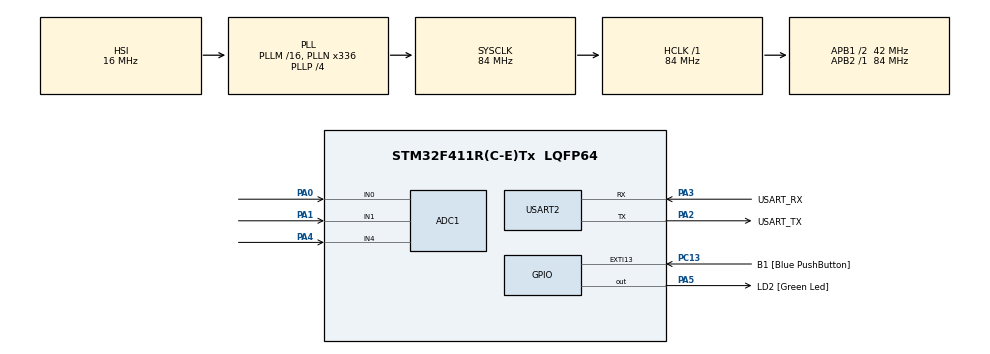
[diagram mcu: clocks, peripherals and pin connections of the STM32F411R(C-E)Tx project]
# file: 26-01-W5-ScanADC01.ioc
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ADC1.Channel-0\#ChannelRegularConversion=ADC_CHANNEL_0
ADC1.Channel-1\#ChannelRegularConversion=ADC_CHANNEL_1
ADC1.Channel-2\#ChannelRegularConversion=ADC_CHANNEL_4
ADC1.ExternalTrigConv=ADC_EXTERNALTRIGCONV_T3_TRGO
ADC1.NbrOfConversion=3
ADC1.NbrOfConversionFlag=1
ADC1.Rank-0\#ChannelRegularConversion=1
ADC1.Rank-1\#ChannelRegularConversion=2
ADC1.Rank-2\#ChannelRegularConversion=3
ADC1.SamplingTime-0\#ChannelRegularConversion=ADC_SAMPLETIME_112CYCLES
ADC1.SamplingTime-1\#ChannelRegularConversion=ADC_SAMPLETIME_112CYCLES
ADC1.SamplingTime-2\#ChannelRegularConversion=ADC_SAMPLETIME_112CYCLES
ADC1.ScanConvMode=ENABLE
ADC1.master=1
Mcu.Family=STM32F4
Mcu.Name=STM32F411R(C-E)Tx
Mcu.Package=LQFP64
NVIC.ADC_IRQn=true\:0\:0\:false\:false\:true\:true\:true\:true
NVIC.PriorityGroup=NVIC_PRIORITYGROUP_0
PA0-WKUP.Signal=ADCx_IN0
PA1.Signal=ADCx_IN1
PA13.GPIO_Label=TMS
PA13.Mode=Serial_Wire
PA13.Signal=SYS_JTMS-SWDIO
PA14.GPIO_Label=TCK
PA14.Mode=Serial_Wire
PA14.Signal=SYS_JTCK-SWCLK
PA2.GPIO_Label=USART_TX
PA2.Mode=Asynchronous
PA2.Signal=USART2_TX
PA3.GPIO_Label=USART_RX
PA3.Mode=Asynchronous
PA3.Signal=USART2_RX
PA4.Signal=ADCx_IN4
PA5.GPIO_Label=LD2 [Green Led]
PA5.Signal=GPIO_Output
PB3.GPIO_Label=SWO
PB3.Signal=SYS_JTDO-SWO
PC13-ANTI_TAMP.GPIO_Label=B1 [Blue PushButton]
PC13-ANTI_TAMP.GPIO_ModeDefaultEXTI=GPIO_MODE_IT_FALLING
PC13-ANTI_TAMP.Signal=GPXTI13
PC14-OSC32_IN.Mode=LSE-External-Oscillator
PC14-OSC32_IN.Signal=RCC_OSC32_IN
PC15-OSC32_OUT.Mode=LSE-External-Oscillator
PC15-OSC32_OUT.Signal=RCC_OSC32_OUT
PH0\ -\ OSC_IN.Mode=HSE-External-Clock-Source
PH0\ -\ OSC_IN.Signal=RCC_OSC_IN
PH1\ -\ OSC_OUT.Mode=HSE-External-Clock-Source
PH1\ -\ OSC_OUT.Signal=RCC_OSC_OUT
ProjectManager.HeapSize=0x200
ProjectManager.StackSize=0x400
ProjectManager.TargetToolchain=STM32CubeIDE
RCC.48MHZClocksFreq_Value=84000000
RCC.AHBFreq_Value=84000000
RCC.APB1CLKDivider=RCC_HCLK_DIV2
RCC.APB1Freq_Value=42000000
RCC.APB1TimFreq_Value=84000000
RCC.APB2Freq_Value=84000000
RCC.APB2TimFreq_Value=84000000
RCC.CortexFreq_Value=84000000
RCC.FLatency-AdvancedSettings=FLASH_LATENCY_2
RCC.HCLKFreq_Value=84000000
RCC.HSE_VALUE=8000000
RCC.HSI_VALUE=16000000
RCC.PLLN=336
RCC.PLLP=RCC_PLLP_DIV4
RCC.SYSCLKFreq_VALUE=84000000
RCC.SYSCLKSource=RCC_SYSCLKSOURCE_PLLCLK
RCC.VCOOutputFreq_Value=336000000
SH.ADCx_IN0.0=ADC1_IN0,IN0
SH.ADCx_IN1.0=ADC1_IN1,IN1
SH.ADCx_IN4.0=ADC1_IN4,IN4
TIM3.Period=99
TIM3.Prescaler=8400 - 1
TIM3.TIM_MasterOutputTrigger=TIM_TRGO_UPDATE
USART2.VirtualMode=VM_ASYNC
VP_TIM3_VS_ClockSourceINT.Mode=Internal
board=NUCLEO-F411RE

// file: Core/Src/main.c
/* USER CODE BEGIN Header */
/**
  ******************************************************************************
  * @file           : main.c
  * @brief          : Main program body
  ******************************************************************************
  * @attention
  *
  * Copyright (c) 2026 STMicroelectronics.
  * All rights reserved.
  *
  * This software is licensed under terms that can be found in the LICENSE file
  * in the root directory of this software component.
  * If no LICENSE file comes with this software, it is provided AS-IS.
  *
  ******************************************************************************
  */
/* USER CODE END Header */
#include "main.h"

/* USER CODE BEGIN Includes */
#include "Serial_printf.h"
/* USER CODE END Includes */

ADC_HandleTypeDef hadc1;

TIM_HandleTypeDef htim3;

UART_HandleTypeDef huart2;

/* USER CODE BEGIN PV */
#define ADC_BUF_SIZE   500
#define ADC_CH_NUM     3

volatile uint16_t adc_buf[ADC_CH_NUM][ADC_BUF_SIZE];
volatile uint32_t adc_buf_idx   = 0;   // 현재 버퍼 쓰기 위치 (0 ~ 499)
volatile uint8_t  adc_ch_idx    = 0;   // 스캔 중 채널 인덱스 (0, 1, 2)
volatile uint32_t adc_conv_count = 0;  // 완료된 스캔 횟수 (3채널 1세트 = 1)
/* USER CODE END PV */

void SystemClock_Config(void);
static void MX_GPIO_Init(void);
static void MX_USART2_UART_Init(void);
static void MX_ADC1_Init(void);
static void MX_TIM3_Init(void);

int main(void)
{

  /* MCU Configuration--------------------------------------------------------*/

  /* Reset of all peripherals, Initializes the Flash interface and the Systick. */
  HAL_Init();

  /* Configure the system clock */
  SystemClock_Config();

  /* Initialize all configured peripherals */
  MX_GPIO_Init();
  MX_USART2_UART_Init();
  MX_ADC1_Init();
  MX_TIM3_Init();
  /* USER CODE BEGIN 2 */
  printf("== ScanADC01 Start ==\n");
  printf("ADC 3ch Scan, TIM3 trigger 100Hz, Buffer %d\n", ADC_BUF_SIZE);

  HAL_TIM_Base_Start(&htim3);       // TIM3 시작 → TRGO로 ADC 트리거 발생
  HAL_ADC_Start_IT(&hadc1);         // ADC 인터럽트 모드 시작 (트리거 대기)
  /* USER CODE END 2 */

  /* Infinite loop */
  /* USER CODE BEGIN WHILE */
  uint32_t last_tick  = HAL_GetTick();
  uint32_t last_count = 0;

  while (1)
  {
	  uint32_t now = HAL_GetTick();
	  if (now - last_tick >= 1000)        // 1초마다 출력
	  {
		  uint32_t cur = adc_conv_count;
		  uint32_t new_cnt = cur - last_count;

		  printf("[%5lus] new=%3lu  total=%lu  idx=%lu\n",
				  now / 1000, new_cnt, cur, adc_buf_idx);

		  // 최근 값 확인용: 마지막으로 기록된 위치의 3채널 값 출력
		  uint32_t peek = (adc_buf_idx == 0) ? ADC_BUF_SIZE - 1 : adc_buf_idx - 1;
		  printf("        CH0=%4u  CH1=%4u  CH4=%4u\n",
				  adc_buf[0][peek], adc_buf[1][peek], adc_buf[2][peek]);

		  last_count = cur;
		  last_tick  = now;
	  }
    /* USER CODE END WHILE */

  }
}

void SystemClock_Config(void)
{
  RCC_OscInitTypeDef RCC_OscInitStruct = {0};
  RCC_ClkInitTypeDef RCC_ClkInitStruct = {0};

  /** Configure the main internal regulator output voltage
  */
  __HAL_RCC_PWR_CLK_ENABLE();
  __HAL_PWR_VOLTAGESCALING_CONFIG(PWR_REGULATOR_VOLTAGE_SCALE1);

  /** Initializes the RCC Oscillators according to the specified parameters
  * in the RCC_OscInitTypeDef structure.
  */
  RCC_OscInitStruct.OscillatorType = RCC_OSCILLATORTYPE_HSI;
  RCC_OscInitStruct.HSIState = RCC_HSI_ON;
  RCC_OscInitStruct.HSICalibrationValue = RCC_HSICALIBRATION_DEFAULT;
  RCC_OscInitStruct.PLL.PLLState = RCC_PLL_ON;
  RCC_OscInitStruct.PLL.PLLSource = RCC_PLLSOURCE_HSI;
  RCC_OscInitStruct.PLL.PLLM = 16;
  RCC_OscInitStruct.PLL.PLLN = 336;
  RCC_OscInitStruct.PLL.PLLP = RCC_PLLP_DIV4;
  RCC_OscInitStruct.PLL.PLLQ = 4;
  if (HAL_RCC_OscConfig(&RCC_OscInitStruct) != HAL_OK)
  {
    Error_Handler();
  }

  /** Initializes the CPU, AHB and APB buses clocks
  */
  RCC_ClkInitStruct.ClockType = RCC_CLOCKTYPE_HCLK|RCC_CLOCKTYPE_SYSCLK
                              |RCC_CLOCKTYPE_PCLK1|RCC_CLOCKTYPE_PCLK2;
  RCC_ClkInitStruct.SYSCLKSource = RCC_SYSCLKSOURCE_PLLCLK;
  RCC_ClkInitStruct.AHBCLKDivider = RCC_SYSCLK_DIV1;
  RCC_ClkInitStruct.APB1CLKDivider = RCC_HCLK_DIV2;
  RCC_ClkInitStruct.APB2CLKDivider = RCC_HCLK_DIV1;

  if (HAL_RCC_ClockConfig(&RCC_ClkInitStruct, FLASH_LATENCY_2) != HAL_OK)
  {
    Error_Handler();
  }
}

static void MX_ADC1_Init(void)
{

  ADC_ChannelConfTypeDef sConfig = {0};

  /** Configure the global features of the ADC (Clock, Resolution, Data Alignment and number of conversion)
  */
  hadc1.Instance = ADC1;
  hadc1.Init.ClockPrescaler = ADC_CLOCK_SYNC_PCLK_DIV4;
  hadc1.Init.Resolution = ADC_RESOLUTION_12B;
  hadc1.Init.ScanConvMode = ENABLE;
  hadc1.Init.ContinuousConvMode = DISABLE;
  hadc1.Init.DiscontinuousConvMode = DISABLE;
  hadc1.Init.ExternalTrigConvEdge = ADC_EXTERNALTRIGCONVEDGE_RISING;
  hadc1.Init.ExternalTrigConv = ADC_EXTERNALTRIGCONV_T3_TRGO;
  hadc1.Init.DataAlign = ADC_DATAALIGN_RIGHT;
  hadc1.Init.NbrOfConversion = 3;
  hadc1.Init.DMAContinuousRequests = DISABLE;
  hadc1.Init.EOCSelection = ADC_EOC_SINGLE_CONV;
  if (HAL_ADC_Init(&hadc1) != HAL_OK)
  {
    Error_Handler();
  }

  /** Configure for the selected ADC regular channel its corresponding rank in the sequencer and its sample time.
  */
  sConfig.Channel = ADC_CHANNEL_0;
  sConfig.Rank = 1;
  sConfig.SamplingTime = ADC_SAMPLETIME_112CYCLES;
  if (HAL_ADC_ConfigChannel(&hadc1, &sConfig) != HAL_OK)
  {
    Error_Handler();
  }

  /** Configure for the selected ADC regular channel its corresponding rank in the sequencer and its sample time.
  */
  sConfig.Channel = ADC_CHANNEL_1;
  sConfig.Rank = 2;
  if (HAL_ADC_ConfigChannel(&hadc1, &sConfig) != HAL_OK)
  {
    Error_Handler();
  }

  /** Configure for the selected ADC regular channel its corresponding rank in the sequencer and its sample time.
  */
  sConfig.Channel = ADC_CHANNEL_4;
  sConfig.Rank = 3;
  if (HAL_ADC_ConfigChannel(&hadc1, &sConfig) != HAL_OK)
  {
    Error_Handler();
  }

}

static void MX_TIM3_Init(void)
{

  TIM_ClockConfigTypeDef sClockSourceConfig = {0};
  TIM_MasterConfigTypeDef sMasterConfig = {0};

  htim3.Instance = TIM3;
  htim3.Init.Prescaler = 8400 - 1;
  htim3.Init.CounterMode = TIM_COUNTERMODE_UP;
  htim3.Init.Period = 99;
  htim3.Init.ClockDivision = TIM_CLOCKDIVISION_DIV1;
  htim3.Init.AutoReloadPreload = TIM_AUTORELOAD_PRELOAD_DISABLE;
  if (HAL_TIM_Base_Init(&htim3) != HAL_OK)
  {
    Error_Handler();
  }
  sClockSourceConfig.ClockSource = TIM_CLOCKSOURCE_INTERNAL;
  if (HAL_TIM_ConfigClockSource(&htim3, &sClockSourceConfig) != HAL_OK)
  {
    Error_Handler();
  }
  sMasterConfig.MasterOutputTrigger = TIM_TRGO_UPDATE;
  sMasterConfig.MasterSlaveMode = TIM_MASTERSLAVEMODE_DISABLE;
  if (HAL_TIMEx_MasterConfigSynchronization(&htim3, &sMasterConfig) != HAL_OK)
  {
    Error_Handler();
  }

}

static void MX_USART2_UART_Init(void)
{

  huart2.Instance = USART2;
  huart2.Init.BaudRate = 115200;
  huart2.Init.WordLength = UART_WORDLENGTH_8B;
  huart2.Init.StopBits = UART_STOPBITS_1;
  huart2.Init.Parity = UART_PARITY_NONE;
  huart2.Init.Mode = UART_MODE_TX_RX;
  huart2.Init.HwFlowCtl = UART_HWCONTROL_NONE;
  huart2.Init.OverSampling = UART_OVERSAMPLING_16;
  if (HAL_UART_Init(&huart2) != HAL_OK)
  {
    Error_Handler();
  }

}

static void MX_GPIO_Init(void)
{
  GPIO_InitTypeDef GPIO_InitStruct = {0};

  /* GPIO Ports Clock Enable */
  __HAL_RCC_GPIOC_CLK_ENABLE();
  __HAL_RCC_GPIOH_CLK_ENABLE();
  __HAL_RCC_GPIOA_CLK_ENABLE();
  __HAL_RCC_GPIOB_CLK_ENABLE();

  /*Configure GPIO pin Output Level */
  HAL_GPIO_WritePin(LD2_GPIO_Port, LD2_Pin, GPIO_PIN_RESET);

  /*Configure GPIO pin : B1_Pin */
  GPIO_InitStruct.Pin = B1_Pin;
  GPIO_InitStruct.Mode = GPIO_MODE_IT_FALLING;
  GPIO_InitStruct.Pull = GPIO_NOPULL;
  HAL_GPIO_Init(B1_GPIO_Port, &GPIO_InitStruct);

  /*Configure GPIO pin : LD2_Pin */
  GPIO_InitStruct.Pin = LD2_Pin;
  GPIO_InitStruct.Mode = GPIO_MODE_OUTPUT_PP;
  GPIO_InitStruct.Pull = GPIO_NOPULL;
  GPIO_InitStruct.Speed = GPIO_SPEED_FREQ_LOW;
  HAL_GPIO_Init(LD2_GPIO_Port, &GPIO_InitStruct);

}

/* USER CODE BEGIN 4 */

/**
 * @brief  ADC 변환 완료 콜백 (EOC_SINGLE_CONV → 채널 1개 변환마다 호출)
 *         TIM3 트리거 1회 → CH0, CH1, CH4 순서로 3번 호출됨
 */
void HAL_ADC_ConvCpltCallback(ADC_HandleTypeDef *hadc)
{
    if (hadc->Instance == ADC1)
    {
        uint16_t value = HAL_ADC_GetValue(&hadc1);

        adc_buf[adc_ch_idx][adc_buf_idx] = value;
        adc_ch_idx++;

        if (adc_ch_idx >= ADC_CH_NUM)       // 3채널 스캔 1세트 완료
        {
            adc_ch_idx = 0;
            adc_buf_idx++;
            if (adc_buf_idx >= ADC_BUF_SIZE) // 버퍼 순환 (Ring Buffer)
                adc_buf_idx = 0;
            adc_conv_count++;                // 완료 세트 수 증가
        }
    }
}

/* USER CODE END 4 */

void Error_Handler(void)
{
  __disable_irq();
  while (1)
  {
  }
}
